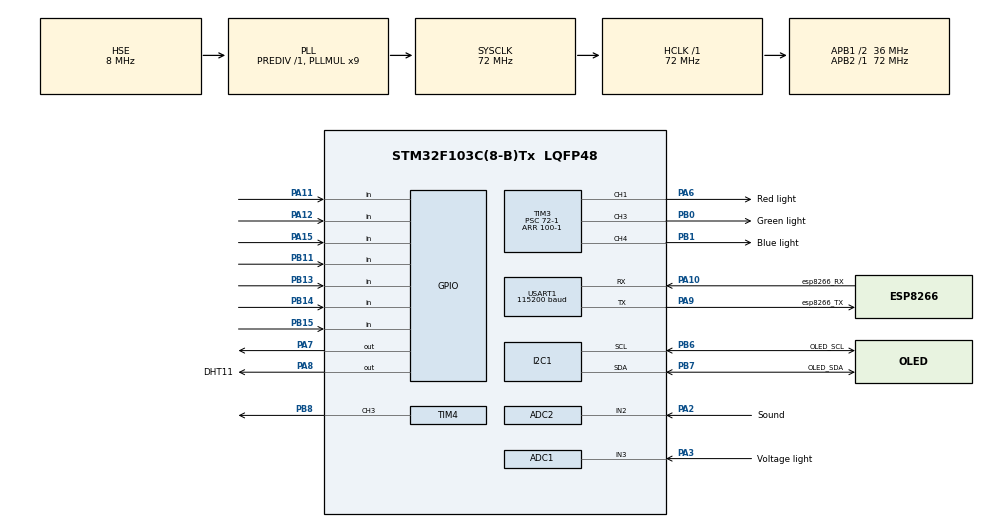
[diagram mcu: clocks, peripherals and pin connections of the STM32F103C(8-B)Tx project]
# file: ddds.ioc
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ADC1.Channel-1\#ChannelRegularConversion=ADC_CHANNEL_3
ADC1.NbrOfConversionFlag=1
ADC1.Rank-1\#ChannelRegularConversion=1
ADC1.SamplingTime-1\#ChannelRegularConversion=ADC_SAMPLETIME_1CYCLE_5
ADC1.master=1
ADC2.Channel-1\#ChannelRegularConversion=ADC_CHANNEL_2
ADC2.ContinuousConvMode=ENABLE
ADC2.NbrOfConversionFlag=1
ADC2.Rank-1\#ChannelRegularConversion=1
ADC2.SamplingTime-1\#ChannelRegularConversion=ADC_SAMPLETIME_1CYCLE_5
Mcu.Family=STM32F1
Mcu.Name=STM32F103C(8-B)Tx
Mcu.Package=LQFP48
NVIC.PriorityGroup=NVIC_PRIORITYGROUP_4
NVIC.TIM2_IRQn=true\:0\:0\:false\:false\:true\:true\:true\:true
NVIC.USART1_IRQn=true\:0\:0\:false\:false\:true\:true\:true\:true
PA10.GPIO_Label=esp8266_RX
PA10.Mode=Asynchronous
PA10.Signal=USART1_RX
PA11.GPIO_PuPd=GPIO_PULLUP
PA11.Signal=GPIO_Input
PA12.GPIO_PuPd=GPIO_PULLUP
PA12.Signal=GPIO_Input
PA13.Mode=Serial_Wire
PA13.Signal=SYS_JTMS-SWDIO
PA14.Mode=Serial_Wire
PA14.Signal=SYS_JTCK-SWCLK
PA15.GPIO_PuPd=GPIO_PULLUP
PA15.Signal=GPIO_Input
PA2.GPIO_Label=Sound
PA2.Signal=ADCx_IN2
PA3.GPIO_Label=Voltage light
PA3.Signal=ADCx_IN3
PA6.GPIO_Label=Red light
PA6.Signal=S_TIM3_CH1
PA7.Signal=GPIO_Output
PA8.GPIO_Label=DHT11
PA8.Signal=GPIO_Output
PA9.GPIO_Label=esp8266_TX
PA9.Mode=Asynchronous
PA9.Signal=USART1_TX
PB0.GPIO_Label=Green light
PB0.Signal=S_TIM3_CH3
PB1.GPIO_Label=Blue light
PB1.Signal=S_TIM3_CH4
PB11.GPIO_PuPd=GPIO_PULLUP
PB11.Signal=GPIO_Input
PB13.GPIO_PuPd=GPIO_PULLUP
PB13.Signal=GPIO_Input
PB14.GPIO_PuPd=GPIO_PULLUP
PB14.Signal=GPIO_Input
PB15.GPIO_PuPd=GPIO_PULLUP
PB15.Signal=GPIO_Input
PB6.GPIO_Label=OLED_SCL
PB6.Mode=I2C
PB6.Signal=I2C1_SCL
PB7.GPIO_Label=OLED_SDA
PB7.Mode=I2C
PB7.Signal=I2C1_SDA
PB8.Signal=S_TIM4_CH3
PC14-OSC32_IN.Mode=LSE-External-Oscillator
PC14-OSC32_IN.Signal=RCC_OSC32_IN
PC15-OSC32_OUT.Mode=LSE-External-Oscillator
PC15-OSC32_OUT.Signal=RCC_OSC32_OUT
PD0-OSC_IN.Mode=HSE-External-Oscillator
PD0-OSC_IN.Signal=RCC_OSC_IN
PD1-OSC_OUT.Mode=HSE-External-Oscillator
PD1-OSC_OUT.Signal=RCC_OSC_OUT
ProjectManager.HeapSize=0x200
ProjectManager.StackSize=0x400
ProjectManager.TargetToolchain=MDK-ARM V5
RCC.ADCPresc=RCC_ADCPCLK2_DIV6
RCC.AHBFreq_Value=72000000
RCC.APB1CLKDivider=RCC_HCLK_DIV2
RCC.APB1Freq_Value=36000000
RCC.APB1TimFreq_Value=72000000
RCC.APB2Freq_Value=72000000
RCC.APB2TimFreq_Value=72000000
RCC.HCLKFreq_Value=72000000
RCC.PLLMUL=RCC_PLL_MUL9
RCC.PLLSourceVirtual=RCC_PLLSOURCE_HSE
RCC.RTCClockSelection=RCC_RTCCLKSOURCE_LSE
RCC.SYSCLKFreq_VALUE=72000000
RCC.SYSCLKSource=RCC_SYSCLKSOURCE_PLLCLK
RCC.USBFreq_Value=72000000
SH.ADCx_IN2.0=ADC2_IN2,IN2
SH.ADCx_IN3.0=ADC1_IN3,IN3
SH.S_TIM3_CH1.0=TIM3_CH1,PWM Generation1 CH1
SH.S_TIM3_CH3.0=TIM3_CH3,PWM Generation3 CH3
SH.S_TIM3_CH4.0=TIM3_CH4,PWM Generation4 CH4
SH.S_TIM4_CH3.0=TIM4_CH3,PWM Generation3 CH3
TIM2.Period=100-1
TIM2.Prescaler=7200-1
TIM3.Channel-PWM\ Generation1\ CH1=TIM_CHANNEL_1
TIM3.Channel-PWM\ Generation3\ CH3=TIM_CHANNEL_3
TIM3.Channel-PWM\ Generation4\ CH4=TIM_CHANNEL_4
TIM3.Period=100-1
TIM3.Prescaler=72-1
TIM3.Pulse-PWM\ Generation1\ CH1=50
TIM3.Pulse-PWM\ Generation3\ CH3=50
TIM3.Pulse-PWM\ Generation4\ CH4=50
TIM4.Channel-PWM\ Generation3\ CH3=TIM_CHANNEL_3
USART1.BaudRate=115200
USART1.VirtualMode=VM_ASYNC
VP_RTC_VS_RTC_Activate.Mode=RTC_Enabled
VP_TIM2_VS_ClockSourceINT.Mode=Internal
VP_TIM3_VS_ClockSourceINT.Mode=Internal
VP_TIM4_VS_ClockSourceINT.Mode=Internal
board=custom

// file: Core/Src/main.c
/* USER CODE BEGIN Header */
/**
  ******************************************************************************
  * @file           : main.c
  * @brief          : Main program body
  ******************************************************************************
  * @attention
  *
  * Copyright (c) 2024 STMicroelectronics.
  * All rights reserved.
  *
  * This software is licensed under terms that can be found in the LICENSE file
  * in the root directory of this software component.
  * If no LICENSE file comes with this software, it is provided AS-IS.
  *
  ******************************************************************************
  */
/* USER CODE END Header */
#include "main.h"
#include "adc.h"
#include "i2c.h"
#include "rtc.h"
#include "tim.h"
#include "usart.h"
#include "gpio.h"

/* USER CODE BEGIN Includes */
#include "OLED.h"
#include "DHT11.h"
#include <stdio.h>
#include <string.h>
#include "esp.h"
#include "Flappy_Bird.h"
#define LONG_PRESS_TIME 2000
#include "my_rtc.h"
#include "maintask.h"
/* USER CODE END Includes */

void SystemClock_Config(void);

int main(void)
{

  /* MCU Configuration--------------------------------------------------------*/

  /* Reset of all peripherals, Initializes the Flash interface and the Systick. */
  HAL_Init();

  /* USER CODE BEGIN Init */
	__HAL_RCC_PWR_CLK_ENABLE();       // 启用PWR时钟
  __HAL_RCC_BKP_CLK_ENABLE();       // 启用BKP时钟
	HAL_PWR_EnableBkUpAccess();
  /* USER CODE END Init */

  /* Configure the system clock */
  SystemClock_Config();

  /* Initialize all configured peripherals */
  MX_GPIO_Init();
  MX_I2C1_Init();
  MX_USART1_UART_Init();
  MX_ADC1_Init();
  MX_TIM3_Init();
  MX_ADC2_Init();
  MX_TIM2_Init();
  MX_TIM4_Init();
  MX_RTC_Init();
  /* USER CODE BEGIN 2 */
	HAL_TIM_Base_Start_IT(&htim2);
	beforeall();
  /* USER CODE END 2 */

  /* Infinite loop */
  /* USER CODE BEGIN WHILE */
  while (1)
  {
		init();
    /* USER CODE END WHILE */

  }
}

void SystemClock_Config(void)
{
  RCC_OscInitTypeDef RCC_OscInitStruct = {0};
  RCC_ClkInitTypeDef RCC_ClkInitStruct = {0};
  RCC_PeriphCLKInitTypeDef PeriphClkInit = {0};

  /** Initializes the RCC Oscillators according to the specified parameters
  * in the RCC_OscInitTypeDef structure.
  */
  RCC_OscInitStruct.OscillatorType = RCC_OSCILLATORTYPE_HSE|RCC_OSCILLATORTYPE_LSE;
  RCC_OscInitStruct.HSEState = RCC_HSE_ON;
  RCC_OscInitStruct.HSEPredivValue = RCC_HSE_PREDIV_DIV1;
  RCC_OscInitStruct.LSEState = RCC_LSE_ON;
  RCC_OscInitStruct.HSIState = RCC_HSI_ON;
  RCC_OscInitStruct.PLL.PLLState = RCC_PLL_ON;
  RCC_OscInitStruct.PLL.PLLSource = RCC_PLLSOURCE_HSE;
  RCC_OscInitStruct.PLL.PLLMUL = RCC_PLL_MUL9;
  if (HAL_RCC_OscConfig(&RCC_OscInitStruct) != HAL_OK)
  {
    Error_Handler();
  }

  /** Initializes the CPU, AHB and APB buses clocks
  */
  RCC_ClkInitStruct.ClockType = RCC_CLOCKTYPE_HCLK|RCC_CLOCKTYPE_SYSCLK
                              |RCC_CLOCKTYPE_PCLK1|RCC_CLOCKTYPE_PCLK2;
  RCC_ClkInitStruct.SYSCLKSource = RCC_SYSCLKSOURCE_PLLCLK;
  RCC_ClkInitStruct.AHBCLKDivider = RCC_SYSCLK_DIV1;
  RCC_ClkInitStruct.APB1CLKDivider = RCC_HCLK_DIV2;
  RCC_ClkInitStruct.APB2CLKDivider = RCC_HCLK_DIV1;

  if (HAL_RCC_ClockConfig(&RCC_ClkInitStruct, FLASH_LATENCY_2) != HAL_OK)
  {
    Error_Handler();
  }
  PeriphClkInit.PeriphClockSelection = RCC_PERIPHCLK_RTC|RCC_PERIPHCLK_ADC;
  PeriphClkInit.RTCClockSelection = RCC_RTCCLKSOURCE_LSE;
  PeriphClkInit.AdcClockSelection = RCC_ADCPCLK2_DIV6;
  if (HAL_RCCEx_PeriphCLKConfig(&PeriphClkInit) != HAL_OK)
  {
    Error_Handler();
  }
}

void Error_Handler(void)
{
  __disable_irq();
  while (1)
  {
  }
}
